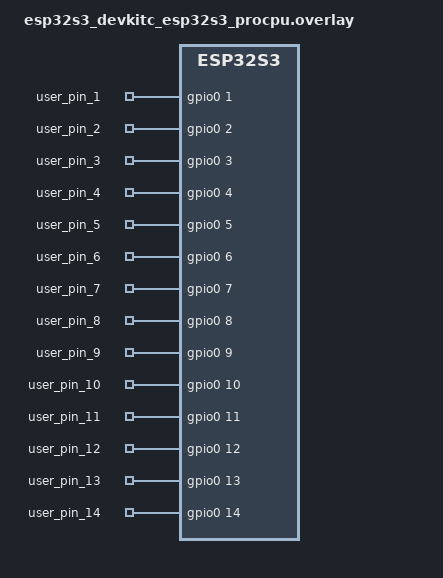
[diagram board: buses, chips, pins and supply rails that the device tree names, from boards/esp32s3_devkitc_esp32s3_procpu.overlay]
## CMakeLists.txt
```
cmake_minimum_required(VERSION 3.20)

find_package(Zephyr REQUIRED HINTS $ENV{ZEPHYR_BASE})
project(lumi)

add_subdirectory(src)
```

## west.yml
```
manifest:
  version: "0.10"

  remotes:
    - name: zephyr
      url-base: https://github.com/zephyrproject-rtos

  projects:
    - name: zephyr
      remote: zephyr
      repo-path: zephyr
      revision: v4.4.0
      import:
        - name-allowlist:
            # HAL: Espressif for ESP32S3
            - hal_espressif
            # ARM CMSIS for native_sim and ARM cores
            - cmsis
            - cmsis_6
            # GUI
            - lvgl
            # Bootloader
            - mcuboot
```

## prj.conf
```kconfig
CONFIG_LOG=y
CONFIG_DISPLAY=y
CONFIG_HEAP_MEM_POOL_SIZE=2048

CONFIG_CPP=y
CONFIG_STD_CPP23=y
CONFIG_REQUIRES_FULL_LIBCPP=y
```

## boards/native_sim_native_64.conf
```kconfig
CONFIG_SDL_DISPLAY_ZOOM_PCT=1000
```

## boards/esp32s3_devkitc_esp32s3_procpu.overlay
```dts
/*
 * Generic GPIO Exposure Overlay for ESP32-S3-DevKitC
 * Exposes 14 safe, sequential pins as generic outputs.
 */

/ {
    /* Expose pins as generic output nodes */
    display_gpios: generic_outputs {
        compatible = "gpio-leds";

        user_pin_1: pin_1 {
            gpios = <&gpio0 1 GPIO_ACTIVE_HIGH>;
        };
        user_pin_2: pin_2 {
            gpios = <&gpio0 2 GPIO_ACTIVE_HIGH>;
        };
        user_pin_3: pin_3 {
            gpios = <&gpio0 3 GPIO_ACTIVE_HIGH>;
        };
        user_pin_4: pin_4 {
            gpios = <&gpio0 4 GPIO_ACTIVE_HIGH>;
        };
        user_pin_5: pin_5 {
            gpios = <&gpio0 5 GPIO_ACTIVE_HIGH>;
        };
        user_pin_6: pin_6 {
            gpios = <&gpio0 6 GPIO_ACTIVE_HIGH>;
        };
        user_pin_7: pin_7 {
            gpios = <&gpio0 7 GPIO_ACTIVE_HIGH>;
        };
        user_pin_8: pin_8 {
            gpios = <&gpio0 8 GPIO_ACTIVE_HIGH>;
        };
        user_pin_9: pin_9 {
            gpios = <&gpio0 9 GPIO_ACTIVE_HIGH>;
        };
        user_pin_10: pin_10 {
            gpios = <&gpio0 10 GPIO_ACTIVE_HIGH>;
        };
        user_pin_11: pin_11 {
            gpios = <&gpio0 11 GPIO_ACTIVE_HIGH>;
        };
        user_pin_12: pin_12 {
            gpios = <&gpio0 12 GPIO_ACTIVE_HIGH>;
        };
        user_pin_13: pin_13 {
            gpios = <&gpio0 13 GPIO_ACTIVE_HIGH>;
        };
        user_pin_14: pin_14 {
            gpios = <&gpio0 14 GPIO_ACTIVE_HIGH>;
        };
    };

    /* System-wide shorthand shortcuts for your source files */
    aliases {
        gpiopin1  = &user_pin_1;
        gpiopin2  = &user_pin_2;
        gpiopin3  = &user_pin_3;
        gpiopin4  = &user_pin_4;
        gpiopin5  = &user_pin_5;
        gpiopin6  = &user_pin_6;
        gpiopin7  = &user_pin_7;
        gpiopin8  = &user_pin_8;
        gpiopin9  = &user_pin_9;
        gpiopin10 = &user_pin_10;
        gpiopin11 = &user_pin_11;
        gpiopin12 = &user_pin_12;
        gpiopin13 = &user_pin_13;
        gpiopin14 = &user_pin_14;
    };
};
```

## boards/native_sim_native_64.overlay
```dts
/ {
    chosen {
        zephyr,display = &sdl_dc;
    };
};

&sdl_dc {
    status = "okay";
    width = <64>;
    height = <32>;
};
```

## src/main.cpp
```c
#include <array>
#include <cmath>
#include <zephyr/drivers/gpio.h>
#include <zephyr/kernel.h>
#include <zephyr/logging/log.h>

LOG_MODULE_REGISTER(main);

// Panel dimensions
static constexpr int PANEL_WIDTH  = 128; // Number of columns
static constexpr int PANEL_HEIGHT = 64;  // Number of rows (for 32-row panel)
static constexpr int NUM_ROWS =
    PANEL_HEIGHT / 2; // Number of row pairs (top/bottom displayed simultaneously)

// GPIO pins
static gpio_dt_spec gpio_r1    = GPIO_DT_SPEC_GET(DT_ALIAS(gpiopin1), gpios);
static gpio_dt_spec gpio_g1    = GPIO_DT_SPEC_GET(DT_ALIAS(gpiopin2), gpios);
static gpio_dt_spec gpio_b1    = GPIO_DT_SPEC_GET(DT_ALIAS(gpiopin3), gpios);
static gpio_dt_spec gpio_r2    = GPIO_DT_SPEC_GET(DT_ALIAS(gpiopin4), gpios);
static gpio_dt_spec gpio_g2    = GPIO_DT_SPEC_GET(DT_ALIAS(gpiopin5), gpios);
static gpio_dt_spec gpio_b2    = GPIO_DT_SPEC_GET(DT_ALIAS(gpiopin6), gpios);
static gpio_dt_spec gpio_e     = GPIO_DT_SPEC_GET(DT_ALIAS(gpiopin7), gpios);
static gpio_dt_spec gpio_a     = GPIO_DT_SPEC_GET(DT_ALIAS(gpiopin8), gpios);
static gpio_dt_spec gpio_b     = GPIO_DT_SPEC_GET(DT_ALIAS(gpiopin9), gpios);
static gpio_dt_spec gpio_c     = GPIO_DT_SPEC_GET(DT_ALIAS(gpiopin10), gpios);
static gpio_dt_spec gpio_d     = GPIO_DT_SPEC_GET(DT_ALIAS(gpiopin11), gpios);
static gpio_dt_spec gpio_clk   = GPIO_DT_SPEC_GET(DT_ALIAS(gpiopin12), gpios);
static gpio_dt_spec gpio_latch = GPIO_DT_SPEC_GET(DT_ALIAS(gpiopin13), gpios);
static gpio_dt_spec gpio_oe    = GPIO_DT_SPEC_GET(DT_ALIAS(gpiopin14), gpios);

static auto all_gpio = std::to_array<gpio_dt_spec*>(
    {&gpio_r1, &gpio_g1, &gpio_b1, &gpio_r2, &gpio_g2, &gpio_b2, &gpio_e, &gpio_a, &gpio_b, &gpio_c,
     &gpio_d, &gpio_clk, &gpio_latch, &gpio_oe});

// Timing constants for ICN2038S (all in microseconds)
// ICN2038S requires nanosecond-level precision, so we use very small delays
static constexpr uint32_t CLK_HIGH_TIME_US = 1; // Clock high: ~20ns (use 1us for safety)
static constexpr uint32_t CLK_LOW_TIME_US  = 1; // Clock low: ~20ns (use 1us for safety)
static constexpr uint32_t LATCH_SETUP_US   = 1; // Setup time before latch
static constexpr uint32_t OE_BLANKING_US   = 2; // Keep OE high during row transitions

// Simple busy-wait microsecond delay (for nanosecond-precision timing)
static inline void delay_us(uint32_t us)
{
    if (us == 0)
        return;
    // Zephyr k_busy_wait for microsecond precision
    k_busy_wait(us);
}

// Set row address lines (A, B, C, D, E) to select which row pair to display
static inline void set_row_address(uint32_t row)
{
    // row: 0-31 (for 64-row panel) or 0-15 (for 32-row panel)
    gpio_pin_set_dt(&gpio_a, (row >> 0) & 1);
    gpio_pin_set_dt(&gpio_b, (row >> 1) & 1);
    gpio_pin_set_dt(&gpio_c, (row >> 2) & 1);
    gpio_pin_set_dt(&gpio_d, (row >> 3) & 1);
    gpio_pin_set_dt(&gpio_e, (row >> 4) & 1);
}

// Clock pulse: toggle CLK high then low
static inline void clock_pulse()
{
    gpio_pin_set_dt(&gpio_clk, true);
    delay_us(CLK_HIGH_TIME_US);
    gpio_pin_set_dt(&gpio_clk, false);
    delay_us(CLK_LOW_TIME_US);
}

// Set color data pins for one pixel (top and bottom half)
static inline void set_pixel_data(bool r1, bool g1, bool b1, bool r2, bool g2, bool b2)
{
    gpio_pin_set_dt(&gpio_r1, r1);
    gpio_pin_set_dt(&gpio_g1, g1);
    gpio_pin_set_dt(&gpio_b1, b1);
    gpio_pin_set_dt(&gpio_r2, r2);
    gpio_pin_set_dt(&gpio_g2, g2);
    gpio_pin_set_dt(&gpio_b2, b2);
}

// Shift in one row of data and latch it
static void shift_and_latch_row(bool top_r[], bool top_g[], bool top_b[], bool bot_r[],
                                bool bot_g[], bool bot_b[])
{
    // Clock in all 64 pixels
    for (size_t col = 0; col < PANEL_WIDTH; col++) {
        set_pixel_data(top_r[col], top_g[col], top_b[col], bot_r[col], bot_g[col], bot_b[col]);
        delay_us(LATCH_SETUP_US);
        clock_pulse();
    }

    // Disable output during latching to avoid glitches
    gpio_pin_set_dt(&gpio_oe, true);
    delay_us(OE_BLANKING_US);

    // Clock latch
    delay_us(LATCH_SETUP_US);
    gpio_pin_set_dt(&gpio_latch, true);
    delay_us(CLK_HIGH_TIME_US);
    gpio_pin_set_dt(&gpio_latch, false);
    delay_us(CLK_LOW_TIME_US);

    // Re-enable output
    gpio_pin_set_dt(&gpio_oe, false);
    delay_us(OE_BLANKING_US);
}

int main()
{
    int res;

    LOG_INF("HUB75E LED Matrix Driver - ICN2038S");

    // Initialize and configure all GPIO pins
    for (auto gpio : all_gpio) {
        if (!device_is_ready(gpio->port)) {
            LOG_ERR("GPIO %s pin %d not ready!", gpio->port->name, gpio->pin);
            return -1;
        }

        res = gpio_pin_configure_dt(gpio, GPIO_OUTPUT | GPIO_PUSH_PULL);
        if (res < 0) {
            LOG_ERR("Failed to configure GPIO %s pin %d [%d]", gpio->port->name, gpio->pin, res);
            return res;
        }
    }
    LOG_INF("All GPIO pins configured!");

    // Initialize control pins to safe state
    gpio_pin_set_dt(&gpio_oe, true);     // Outputs disabled
    gpio_pin_set_dt(&gpio_latch, false); // Latch off
    gpio_pin_set_dt(&gpio_clk, false);   // Clock off

    LOG_INF("Starting display refresh loop at ~100Hz");
    LOG_INF("Panel: %ux%u (rows: %u pairs)", PANEL_WIDTH, PANEL_HEIGHT, NUM_ROWS);

    int t = 0;
    int a = 0;
    int b = 0;
    int c = 0;
    int d = 0;

    // Main display refresh loop
    // For proper operation, need to refresh all rows rapidly (~100+ Hz)
    // Each frame shows one row pair at a time, cycling through all rows
    while (1) {
        // Cycle through all row pairs
        for (int row = 0; row < NUM_ROWS; row++) {
            // Set row address
            set_row_address(row);
            delay_us(LATCH_SETUP_US);

            // Create test pattern data for this row
            // Top half (row): Red
            // Bottom half (row + 16): Green
            std::array<bool, PANEL_WIDTH> top_r, top_g, top_b;
            std::array<bool, PANEL_WIDTH> bot_r, bot_g, bot_b;

            // Fill with test pattern
            for (int col = 0; col < PANEL_WIDTH; col++) {
                auto dxa  = abs(a - col);
                auto dyb1 = abs(b - row);
                auto dyb2 = abs(b - (row + NUM_ROWS));

                auto dxc  = abs(c - col);
                auto dyd1 = abs(d - row);
                auto dyd2 = abs(d - (row + NUM_ROWS));

                bool inab1 = (dxa + dyb1) < 20;
                bool inab2 = (dxa + dyb2) < 20;
                bool incd1 = (dxc + dyd1) < 20;
                bool incd2 = (dxc + dyd2) < 20;

                // Top half: red
                top_r[col] = inab1 & !incd1;
                top_g[col] = incd1 & !inab1;
                top_b[col] = inab1 & incd1;

                // Bottom half: green
                bot_r[col] = inab2 & !incd2;
                bot_g[col] = incd2 & !inab2;
                bot_b[col] = inab2 & incd2;
            }

            // Shift in and latch this row
            shift_and_latch_row(top_r.data(), top_g.data(), top_b.data(), bot_r.data(),
                                bot_g.data(), bot_b.data());
        }

        a = PANEL_WIDTH / 2. + 10 * std::cos(t / 8.) - 10;
        b = PANEL_HEIGHT / 2. + 10 * std::sin(t / 8.);
        c = PANEL_WIDTH / 2. + 10 * std::cos(t / 9.) + 10;
        d = PANEL_HEIGHT / 2. + 10 * std::sin(t / 9.);
        t++;
    }

    return 0;
}
```

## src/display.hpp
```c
#pragma once

#include <cstdint>
#include <span>

namespace display
{

struct Color
{
    uint8_t R;
    uint8_t G;
    uint8_t B;
};

int  init();
void update_frame(std::span<Color> framebuffer);

} // namespace display
```

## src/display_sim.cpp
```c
#include "display.hpp"

#include <cstdlib>
#include <zephyr/drivers/display.h>
#include <zephyr/kernel.h>
#include <zephyr/logging/log.h>

LOG_MODULE_REGISTER(display);

static const struct device* display_dev = DEVICE_DT_GET(DT_CHOSEN(zephyr_display));

static display_buffer_descriptor buf_desc;
static display_capabilities      capabilities;

static size_t number_of_pixels;
static size_t buf_size;

static uint8_t* output_buf;

namespace display
{

int init()
{
    if (!device_is_ready(display_dev)) {
        LOG_ERR("Display not available");
        return -1;
    }

    display_get_capabilities(display_dev, &capabilities);

    number_of_pixels = capabilities.x_resolution * capabilities.y_resolution;

    buf_size = number_of_pixels;
    buf_size *= DISPLAY_BITS_PER_PIXEL(capabilities.current_pixel_format);
    buf_size = DIV_ROUND_UP(DIV_ROUND_UP(buf_size, NUM_BITS(uint8_t)), sizeof(uint8_t));

    buf_desc.buf_size         = buf_size;
    buf_desc.width            = capabilities.x_resolution;
    buf_desc.height           = capabilities.y_resolution;
    buf_desc.pitch            = capabilities.x_resolution;
    buf_desc.frame_incomplete = false;

    output_buf = (uint8_t*) malloc(buf_size);
    if (output_buf == nullptr) {
        LOG_ERR("Failed to allocate");
        return -1;
    }

    return 0;
}

void update_frame(std::span<Color> framebuffer)
{
    for (size_t i = 0; i < framebuffer.size(); i++) {
        Color c               = framebuffer[i];
        output_buf[i * 4 + 0] = c.B;
        output_buf[i * 4 + 1] = c.G;
        output_buf[i * 4 + 2] = c.R;
        output_buf[i * 4 + 3] = 0xff;
    }

    int ret = display_write(display_dev, 0, 0, &buf_desc, output_buf);
    if (ret < 0) {
        LOG_ERR("Failed to write [%d]", ret);
    }

    ret = display_blanking_off(display_dev);
    if (ret < 0) {
        LOG_ERR("Failed to blanking off [%d]", ret);
    }
}

} // namespace display
```

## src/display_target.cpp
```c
#include "display.hpp"

namespace display
{

int init()
{
    return 0;
}

void update_frame(std::span<Color> framebuffer)
{
}

} // namespace display
```

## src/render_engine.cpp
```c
#include "render_engine.hpp"

LOG_MODULE_REGISTER(render_engine);
```

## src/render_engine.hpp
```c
#pragma once

#include "display.hpp"

#include <functional>
#include <span>
#include <utility>
#include <zephyr/kernel.h>
#include <zephyr/logging/log.h>

static constexpr int32_t RenderPeriodMs = 1000 / 60;

template <size_t W, size_t H>
class RenderEngine
{
  public:
    using RenderCallback = std::function<void(std::span<display::Color>)>;

    void setRenderCallback(RenderCallback renderCallback)
    {
        m_renderCallback = renderCallback;
    }

    void run()
    {
        LOG_MODULE_DECLARE(render_engine);

        auto bufA = &m_buf1;
        auto bufB = &m_buf2;

        while (true) {
            int32_t t0 = k_cyc_to_ms_ceil32(k_cycle_get_32());
            if (m_renderCallback) {
                m_renderCallback(*bufA);
                display::update_frame(*bufA);
            }

            std::swap(bufA, bufB);

            int32_t t1        = k_cyc_to_ms_ceil32(k_cycle_get_32());
            int32_t msToSleep = RenderPeriodMs - (t1 - t0);
            if (msToSleep > 0) {
                k_msleep(msToSleep);
            }
        }
    }

  private:
    std::array<display::Color, W * H> m_buf1{}, m_buf2{};
    RenderCallback                    m_renderCallback;
};
```
